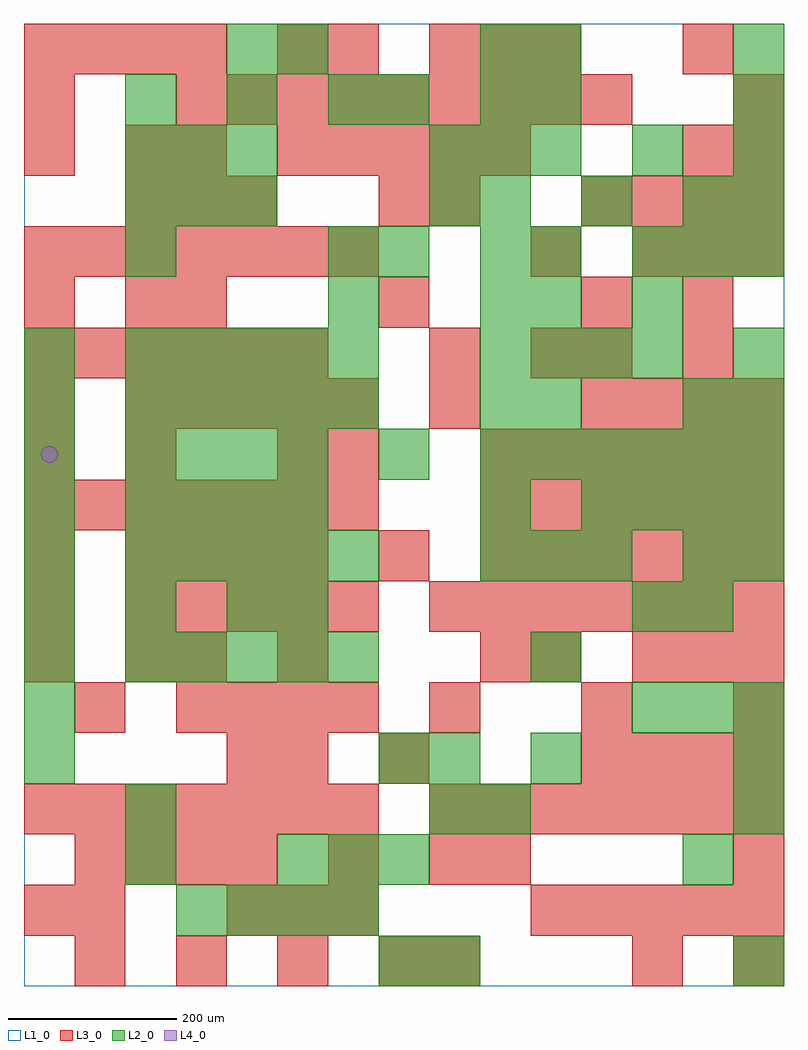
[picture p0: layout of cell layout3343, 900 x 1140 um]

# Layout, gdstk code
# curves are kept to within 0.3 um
import gdstk
lib = gdstk.Library(unit=1e-6, precision=1e-09)
def R(c, l, rs):  # rectangles x0, y0, x1, y1
    for r in rs: c.add(gdstk.rectangle(r[:2], r[2:], *l))
def A(c, l, x, y, w, h, nx, ny, dx, dy):  # array of equal rectangles
    R(c, l, [(x+i*dx, y+j*dy, x+i*dx+w, y+j*dy+h) for i in range(nx) for j in range(ny)])
def P(c, l, *ps):  # polygons
    for p in ps: c.add(gdstk.Polygon(p, *l))
L1_0 = (1, 0)
L2_0 = (2, 0)
L3_0 = (3, 0)
L4_0 = (4, 0)

layout3343 = lib.new_cell('layout3343')
R(layout3343, L1_0, [(0,0,900,1140)])
A(layout3343, L2_0, 180, 60, 60, 60, 4, 1, 60, 0)
A(layout3343, L2_0, 300, 120, 60, 60, 3, 1, 60, 0)
A(layout3343, L2_0, 0, 240, 60, 60, 1, 3, 0, 60)
A(layout3343, L2_0, 720, 300, 60, 60, 3, 2, 60, 540)
A(layout3343, L2_0, 120, 360, 60, 60, 5, 2, 60, 120)
A(layout3343, L2_0, 0, 420, 60, 60, 3, 1, 120, 0)
A(layout3343, L2_0, 0, 480, 60, 60, 1, 5, 0, 60)
A(layout3343, L2_0, 540, 480, 60, 60, 3, 1, 60, 0)
A(layout3343, L2_0, 120, 540, 60, 60, 4, 2, 60, 60)
A(layout3343, L2_0, 540, 540, 60, 60, 1, 3, 0, 120)
A(layout3343, L2_0, 660, 540, 60, 60, 4, 1, 60, 0)
A(layout3343, L2_0, 540, 600, 60, 60, 6, 1, 60, 0)
A(layout3343, L2_0, 120, 660, 60, 60, 5, 2, 60, 60)
A(layout3343, L2_0, 540, 720, 60, 60, 4, 1, 60, 0)
A(layout3343, L2_0, 120, 900, 60, 60, 3, 2, 60, 60)
A(layout3343, L2_0, 540, 900, 60, 60, 3, 1, 120, 0)
A(layout3343, L2_0, 840, 900, 60, 60, 1, 4, 0, 60)
A(layout3343, L2_0, 480, 960, 60, 60, 3, 1, 60, 0)
A(layout3343, L2_0, 120, 1020, 60, 60, 3, 1, 120, 0)
R(layout3343, L2_0, [(420,0,480,60), (480,0,540,60), (840,0,900,60), (120,120,180,180), (780,120,840,180), (120,180,180,240), (480,180,540,240), (540,180,600,240), (840,180,900,240), (420,240,480,300), (480,240,540,300), (600,240,660,300), (840,240,900,300), (600,360,660,420), (300,420,360,480), (720,420,780,480), (780,420,840,480), (780,480,840,540), (840,480,900,540), (420,600,480,660), (600,660,660,720), (780,660,840,720), (840,660,900,720), (840,720,900,780), (360,780,420,840), (600,780,660,840), (720,780,780,840), (120,840,180,900), (360,840,420,900), (420,840,480,900), (540,840,600,900), (600,840,660,900), (480,900,540,960), (720,960,780,1020), (420,1020,480,1080), (540,1020,600,1080), (600,1020,660,1080), (240,1080,300,1140), (300,1080,360,1140), (540,1080,600,1140), (600,1080,660,1140)])
A(layout3343, L3_0, 60, 0, 60, 60, 4, 1, 120, 0)
A(layout3343, L3_0, 240, 60, 60, 60, 3, 1, 60, 0)
A(layout3343, L3_0, 600, 60, 60, 60, 5, 1, 60, 0)
A(layout3343, L3_0, 60, 120, 60, 60, 4, 1, 60, 0)
A(layout3343, L3_0, 360, 120, 60, 60, 1, 3, 0, 480)
A(layout3343, L3_0, 0, 180, 60, 60, 7, 2, 60, 360)
A(layout3343, L3_0, 480, 180, 60, 60, 7, 2, 60, 240)
A(layout3343, L3_0, 660, 240, 60, 60, 4, 2, 60, 420)
A(layout3343, L3_0, 180, 300, 60, 60, 4, 1, 60, 0)
A(layout3343, L3_0, 480, 300, 60, 60, 3, 1, 180, 0)
A(layout3343, L3_0, 0, 360, 60, 60, 1, 3, 0, 60)
A(layout3343, L3_0, 720, 360, 60, 60, 3, 2, 60, 480)
A(layout3343, L3_0, 120, 420, 60, 60, 5, 2, 60, 240)
A(layout3343, L3_0, 120, 480, 60, 60, 4, 1, 60, 0)
A(layout3343, L3_0, 540, 480, 60, 60, 6, 3, 60, 60)
A(layout3343, L3_0, 120, 600, 60, 60, 1, 3, 0, 180)
A(layout3343, L3_0, 0, 720, 60, 60, 6, 1, 60, 0)
A(layout3343, L3_0, 180, 780, 60, 60, 3, 1, 240, 0)
A(layout3343, L3_0, 0, 840, 60, 60, 7, 1, 60, 0)
A(layout3343, L3_0, 120, 900, 60, 60, 3, 1, 60, 0)
A(layout3343, L3_0, 660, 900, 60, 60, 4, 1, 60, 0)
A(layout3343, L3_0, 300, 960, 60, 60, 5, 1, 60, 0)
A(layout3343, L3_0, 180, 1020, 60, 60, 9, 1, 60, 0)
A(layout3343, L3_0, 0, 1080, 60, 60, 4, 1, 60, 0)
A(layout3343, L3_0, 480, 1080, 60, 60, 3, 1, 60, 0)
R(layout3343, L3_0, [(480,0,540,60), (720,0,780,60), (840,0,900,60), (0,60,60,120), (60,60,120,120), (480,120,540,180), (540,120,600,180), (840,120,900,180), (240,240,300,300), (300,240,360,300), (420,240,480,300), (60,300,120,360), (120,360,180,420), (180,360,240,420), (300,360,360,420), (540,360,600,420), (600,360,660,420), (420,480,480,540), (0,600,60,660), (300,600,360,660), (0,660,60,720), (480,660,540,720), (480,720,540,780), (600,720,660,780), (660,720,720,780), (780,720,840,780), (0,780,60,840), (780,780,840,840), (600,840,660,900), (420,900,480,960), (480,900,540,960), (0,960,60,1020), (180,960,240,1020), (780,960,840,1020), (840,960,900,1020), (0,1020,60,1080), (840,1020,900,1080), (300,1080,360,1140), (780,1080,840,1140)])
P(layout3343, L4_0, [(40,630),(39.239,633.827),(37.071,637.071),(33.827,639.239),(30,640),(26.173,639.239),(22.929,637.071),(20.761,633.827),(20,630),(20.761,626.173),(22.929,622.929),(26.173,620.761),(30,620),(33.827,620.761),(37.071,622.929),(39.239,626.173)])

lib.write_gds('layout3343.gds')
